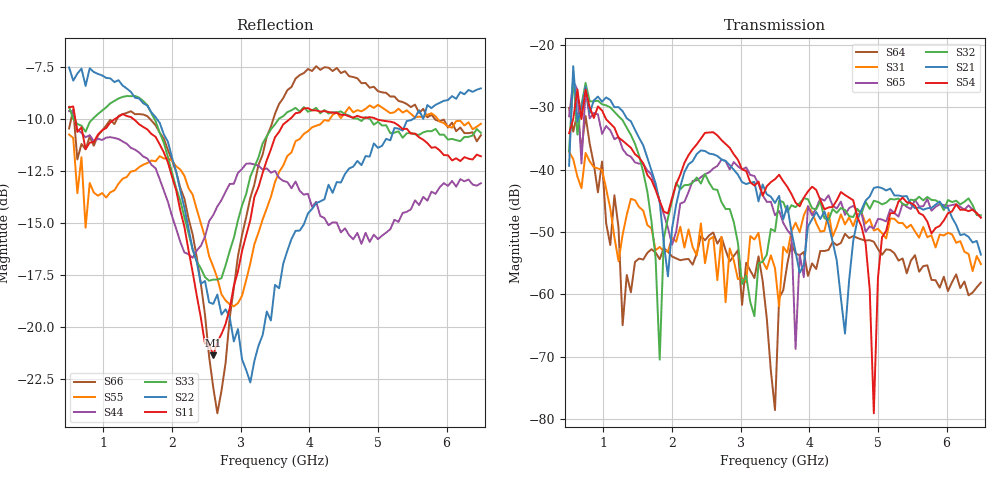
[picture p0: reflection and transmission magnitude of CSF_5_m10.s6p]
!Keysight Technologies,M9804A,MY58100912,A.14.10.03
!Date: Thursday, April 27, 2023 10:28:33
!Correction: S11(C  6-Port  )
!S12(C  6-Port  )
!S13(C  6-Port  )
!S14(C  6-Port  )
!S15(C  6-Port  )
!S16(C  6-Port  )
!S21(C  6-Port  )
!S22(C  6-Port  )
!S23(C  6-Port  )
!S24(C  6-Port  )
!S25(C  6-Port  )
!S26(C  6-Port  )
!S31(C  6-Port  )
!S32(C  6-Port  )
!S33(C  6-Port  )
!S34(C  6-Port  )
!S35(C  6-Port  )
!S36(C  6-Port  )
!S41(C  6-Port  )
!S42(C  6-Port  )
!S43(C  6-Port  )
!S44(C  6-Port  )
!S45(C  6-Port  )
!S46(C  6-Port  )
!S51(C  6-Port  )
!S52(C  6-Port  )
!S53(C  6-Port  )
!S54(C  6-Port  )
!S55(C  6-Port  )
!S56(C  6-Port  )
!S61(C  6-Port  )
!S62(C  6-Port  )
!S63(C  6-Port  )
!S64(C  6-Port  )
!S65(C  6-Port  )
!S66(C  6-Port  )
!S6P File: Measurement: :
# Hz S  RI  R 50
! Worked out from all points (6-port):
!   101 points, 500 MHz to 6.5 GHz, reference 50 ohm
!   strongest paths, dB at 500 MHz, 2 GHz, 3.5 GHz, 5 GHz, 6.5 GHz:
!     S54: -34.2, -44.6, -41.6, -57.4, -47.7
!     S21: -39.4, -49.4, -45.4, -42.8, -53.6
!     S32: -37.0, -45.0, -49.9, -45.2, -47.3
!     S65: -31.5, -52.1, -47.3, -47.9, -47.7
!     S31: -37.2, -51.0, -55.8, -49.5, -55.2
!     S64: -30.1, -53.9, -78.6, -52.7, -58.1
!   lowest |S11| = -21.4 dB at 2.6 GHz (marker M1), VSWR 1.19, Z = 42.4 + j2.2 ohm
!   |S11| at or under -10 dB: 589.8 MHz to 1.166 GHz (576.3 MHz wide, 65.6 % of centre); 1.438 GHz to 3.715 GHz (2.277 GHz wide, 88.4 % of centre); 4.98 GHz to end of sweep
